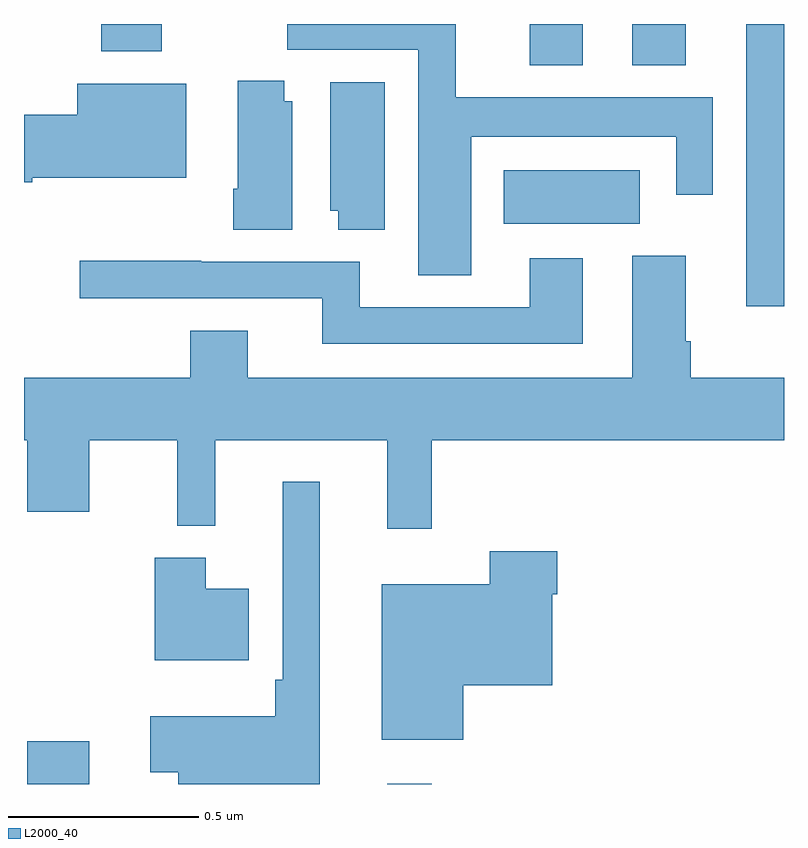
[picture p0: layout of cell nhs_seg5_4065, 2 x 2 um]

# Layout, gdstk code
import gdstk
lib = gdstk.Library(unit=1e-6, precision=1e-09)
def R(c, l, rs):  # rectangles x0, y0, x1, y1
    for r in rs: c.add(gdstk.rectangle(r[:2], r[2:], *l))
def P(c, l, *ps):  # polygons
    for p in ps: c.add(gdstk.Polygon(p, *l))
L2000_40 = (2000, 40)

nhs_seg5_4065 = lib.new_cell('nhs_seg5_4065')
R(nhs_seg5_4065, L2000_40, [(165.008,911.799,165.172,911.911), (165.956,911.799,166.073,911.8), (166.901,913.056,167,913.799), (166.262,913.274,166.621,913.414), (166.331,913.691,166.471,913.799), (166.601,913.691,166.741,913.799), (165.203,913.727,165.363,913.799)])
P(nhs_seg5_4065, L2000_40, [(166.177,913.502),(166.716,913.502),(166.716,913.35),(166.812,913.35),(166.812,913.606),(166.136,913.606),(166.136,913.799),(165.693,913.799),(165.693,913.731),(166.037,913.731),(166.037,913.138),(166.177,913.138)],
  [(165.706,913.596),(165.685,913.596),(165.685,913.65),(165.563,913.65),(165.563,913.366),(165.551,913.366),(165.551,913.258),(165.706,913.258)],
  [(165.949,913.646),(165.806,913.646),(165.806,913.308),(165.827,913.308),(165.827,913.258),(165.949,913.258)],
  [(165.022,913.394),(165.427,913.394),(165.427,913.642),(165.14,913.642),(165.14,913.56),(165,913.56),(165,913.382),(165.022,913.382)],
  [(166.073,912.704),(167,912.704),(167,912.868),(166.754,912.868),(166.754,912.964),(166.741,912.964),(166.741,913.189),(166.601,913.189),(166.601,912.868),(165.589,912.868),(165.589,912.992),(165.437,912.992),(165.437,912.868),(165,912.868),(165,912.704),(165.008,912.704),(165.008,912.516),(165.172,912.516),(165.172,912.704),(165.403,912.704),(165.403,912.479),(165.503,912.479),(165.503,912.704),(165.956,912.704),(165.956,912.471),(166.073,912.471)],
  [(166.471,913.183),(166.331,913.183),(166.331,913.053),(165.883,913.053),(165.883,913.173),(165.467,913.173),(165.467,913.176),(165.147,913.176),(165.147,913.077),(165.785,913.077),(165.785,912.957),(166.471,912.957)],
  [(165.778,912.595),(165.681,912.595),(165.681,912.073),(165.661,912.073),(165.661,911.977),(165.332,911.977),(165.332,911.83),(165.406,911.83),(165.406,911.799),(165.778,911.799)],
  [(166.156,912.059),(166.39,912.059),(166.39,912.299),(166.403,912.299),(166.403,912.412),(166.225,912.412),(166.225,912.325),(165.941,912.325),(165.941,911.915),(166.156,911.915)],
  [(165.592,912.313),(165.478,912.313),(165.478,912.394),(165.344,912.394),(165.344,912.125),(165.592,912.125)])

lib.write_gds('nhs_seg5_4065.gds')
